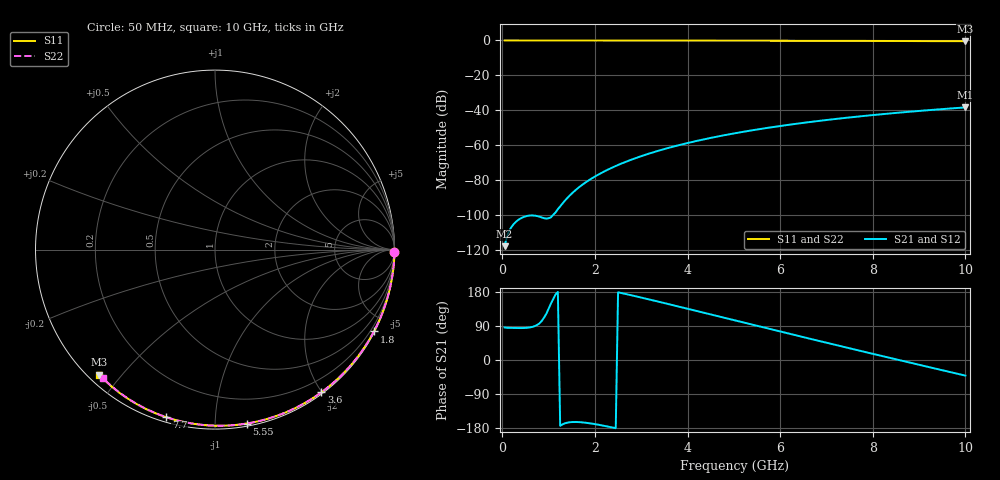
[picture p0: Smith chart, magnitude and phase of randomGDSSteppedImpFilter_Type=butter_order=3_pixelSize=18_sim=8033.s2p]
! freq	dB(S11)	phase(S11)	dB(S12)	phase(S12)
!  dB(S21)	phase(S21)	dB(S22)	phase(S22)
!S-par simulation data
#  GHz  S  DB  R 50
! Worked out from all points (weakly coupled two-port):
!   200 points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, 50 MHz to 10 GHz, reference 50 ohm
!   highest |S21| = -38.35 dB at 10 GHz (marker M1); lowest = -117.8 dB at 50 MHz (marker M2)
!   lowest |S11| = -0.4 dB at 10 GHz (marker M3), VSWR 38.93, Z = 1.53 - j21.8 ohm
!   |S11| at or under -10 dB: nowhere
!   |S22| runs from -0.4 to 0.0 dB; largest |S21 - S12| = 0
!   S11 on the Smith chart (normalised r, x): 50 MHz: open; 1.8 GHz: 0.04, -4.12; 3.6 GHz: 0.02, -1.99; 5.55 GHz: 0.02, -1.20; 7.7 GHz: 0.02, -0.75; 10 GHz: 0.03, -0.44
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0.05  -0.00 -0.8  -117.84 86.0  -117.84 86.0  -0.00 -0.8
0.45  -0.01 -6.9  -101.24 84.3  -101.24 84.3  -0.01 -6.8
0.9  -0.02 -13.8  -101.80 111.6  -101.80 111.6  -0.02 -13.6
1.75  -0.03 -26.5  -82.24 -164.8  -82.24 -164.8  -0.03 -26.2
1.8  -0.03 -27.3  -81.30 -165.5  -81.30 -165.5  -0.03 -26.9
1.85  -0.04 -28.0  -80.41 -166.3  -80.41 -166.3  -0.04 -27.6
1.9  -0.04 -28.7  -79.56 -167.2  -79.56 -167.2  -0.04 -28.4
2.05  -0.04 -31.0  -77.18 -170.2  -77.18 -170.2  -0.04 -30.5
2.25  -0.04 -33.9  -74.38 -174.9  -74.38 -174.9  -0.04 -33.4
2.65  -0.05 -39.7  -69.69 174.6  -69.69 174.6  -0.05 -39.2
3  -0.06 -44.8  -66.28 164.8  -66.28 164.8  -0.06 -44.2
3.4  -0.07 -50.5  -62.95 153.1  -62.95 153.1  -0.07 -49.8
3.6  -0.07 -53.3  -61.46 147.2  -61.46 147.2  -0.07 -52.6
4.3  -0.09 -63.0  -56.95 126.3  -56.95 126.3  -0.09 -62.1
5.05  -0.11 -73.0  -53.03 103.7  -53.03 103.7  -0.11 -72.1
5.55  -0.13 -79.6  -50.80 88.7  -50.80 88.7  -0.13 -78.5
6.1  -0.15 -86.6  -48.62 72.2  -48.62 72.2  -0.15 -85.5
6.7  -0.18 -94.1  -46.52 54.4  -46.52 54.4  -0.18 -92.9
7.7  -0.24 -106.2  -43.53 25.0  -43.53 25.0  -0.24 -104.9
8.35  -0.29 -113.9  -41.86 6.1  -41.86 6.1  -0.29 -112.5
9.15  -0.36 -123.1  -40.04 -16.9  -40.04 -16.9  -0.36 -121.6
10  -0.45 -132.9  -38.35 -41.3  -38.35 -41.3  -0.44 -131.2
